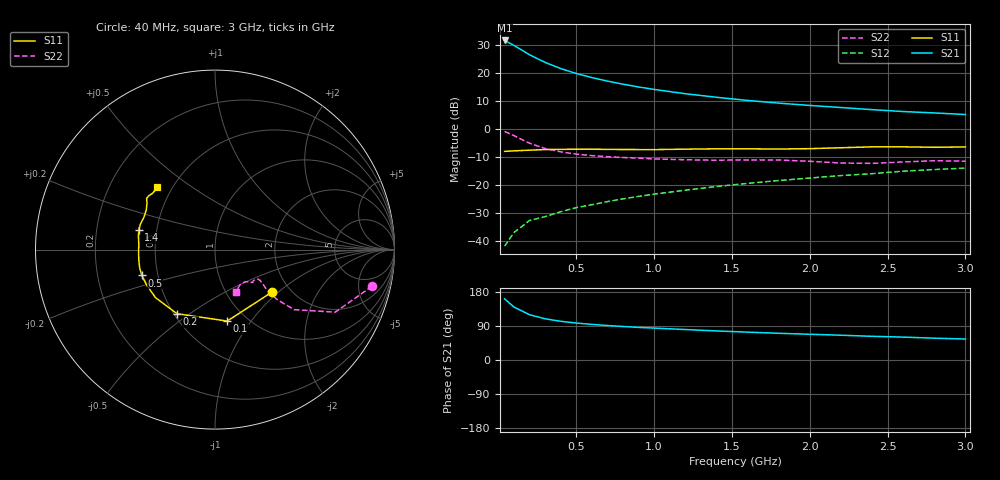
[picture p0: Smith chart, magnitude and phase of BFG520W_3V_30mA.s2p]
! Filename:  BFG520WF.S2P  Version:  4.0
! Philips part #: BFG520  Date: Jun 1994
! Bias condition: Vce=3.0V, Ic=30.0mA
! IN LINE PINNING: same data as with cross emitter pinning.
#  MHz  S  MA  R  50
! Freq  S11  S21  S12  S22  !GUM [dB]
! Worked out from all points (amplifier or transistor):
!   21 points, 40 MHz to 3 GHz, reference 50 ohm
!   highest |S21| = 31.6 dB at 40 MHz (marker M1)
!   |S21| within 3 dB of that: start of sweep to 136.8 MHz
!   unconditionally stable (mu >= 1): 541.5 MHz to end of sweep
!   at 300 MHz: K = 0.81, MSG = 27.6 dB, |S12| = -31.4 dB
!   at 1 GHz: K = 1.14, MAG = 16.4 dB, |S12| = -23.3 dB
!   at 3 GHz: K = 1.13, MAG = 7.4 dB, |S12| = -14.0 dB
!   S11 on the Smith chart (normalised r, x): 40 MHz: 1.60, -0.91; 100 MHz: 0.81, -0.78; 200 MHz: 0.52, -0.45; 500 MHz: 0.41, -0.14; 1.4 GHz: 0.40, +0.11; 3 GHz: 0.42, +0.37
40  0.395 -37.1  37.91 161.3  0.008 76.0  0.899 -13.1
100  0.404 -80.3  30.92 139.8  0.014 67.5  0.755 -27.5
200  0.415 -120.6  21.05 119.5  0.023 61.6  0.553 -37.2
300  0.426 -141.0  15.38 108.8  0.027 62.5  0.445 -38.8
400  0.429 -152.7  11.95 102.2  0.033 65.5  0.388 -38.2
500  0.432 -160.5  9.754 97.5  0.039 67.0  0.353 -37.2
600  0.432 -166.2  8.24 94.0  0.044 69.2  0.332 -35.9
700  0.429 -170.8  7.128 91.0  0.05 70.8  0.318 -35.2
800  0.427 -175.4  6.276 88.4  0.056 72.3  0.307 -34.5
900  0.426 -179.6  5.597 86.1  0.062 73.8  0.299 -34.3
1000  0.425 176.6  5.059 84.2  0.068 74.8  0.29 -34.5
1200  0.433 170.1  4.238 80.4  0.08 75.8  0.28 -36.2
1400  0.439 165.4  3.665 76.7  0.093 76.6  0.275 -38.9
1600  0.439 161.2  3.213 73.5  0.106 77.7  0.278 -40.8
1800  0.435 155.7  2.88 70.5  0.119 77.1  0.277 -41.6
2000  0.442 150.0  2.617 67.9  0.132 77.5  0.263 -42.7
2200  0.459 145.6  2.402 65.4  0.146 77.1  0.245 -47.3
2400  0.476 143.2  2.201 62.5  0.158 77.8  0.241 -55.1
2600  0.476 141.1  2.036 60.4  0.175 77.6  0.256 -61.3
2800  0.468 137.7  1.922 57.6  0.187 76.4  0.269 -63.0
3000  0.474 132.6  1.801 55.3  0.199 76.4  0.264 -64.0
